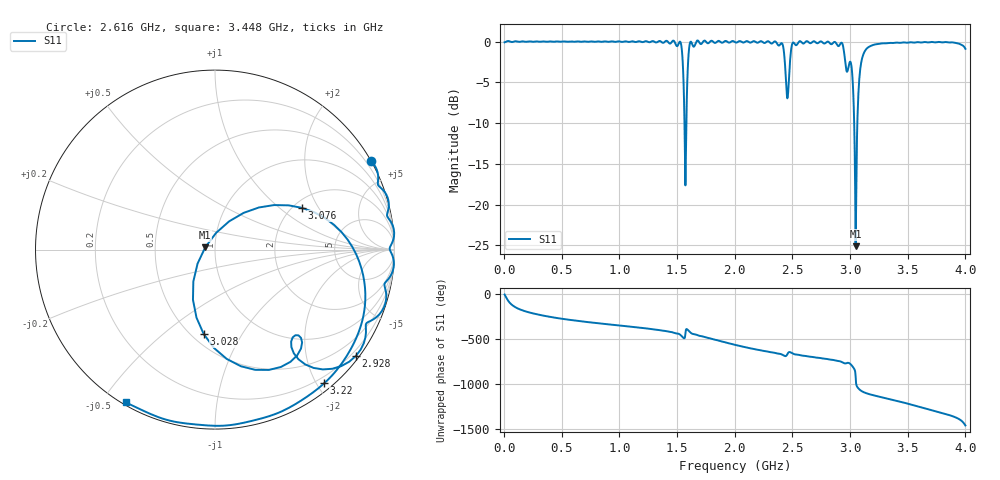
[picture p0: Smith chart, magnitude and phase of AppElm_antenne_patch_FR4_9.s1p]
! TOUCHSTONE file generated by CST MICROWAVE STUDIO
! Date and time: Tue Jun  7 22:11:20 2022
! Project name: AppElm_antenne_patch_FR4.cst
! Parameters = {L=45; W=58.5; e=0.035; h=1.6; lambda=0.190476; ls=120; w0=1.6; w1=0.613; ws=120; y0=20; y1=23.81}
! Header version: 2018
! Port assignment regex: !\s*Touchstone port\s*([0-9]+)\s*=\s*(CST MWS port|CST DS port)\s*([0-9]+|Zmin|Zmax)\s*\(\"(.*)\"\)(\s*mode\s*([0-9]+))?.*
! Touchstone port assignment:
! Touchstone port 1 = CST MWS port 1 ("")
# GHz S MA R 50
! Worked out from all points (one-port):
!   1000 points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, 4 MHz to 4 GHz, reference 50 ohm
!   lowest |S11| = -25.1 dB at 3.048 GHz (marker M1), VSWR 1.12, Z = 44.9 + j1.22 ohm
!   |S11| at or under -10 dB: 1.564 GHz to 1.58 GHz (16.16 MHz wide, 1.03 % of centre); 3.035 GHz to 3.063 GHz (27.53 MHz wide, 0.903 % of centre)
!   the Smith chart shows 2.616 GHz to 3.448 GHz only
!   S11 on the Smith chart (normalised r, x): 2.616 GHz: 0.01, +3.80; 2.928 GHz: 0.08, -2.98; 3.028 GHz: 0.57, -0.70; 3.076 GHz: 2.23, +1.46; 3.22 GHz: 0.11, -2.11; 3.448 GHz: 0.01, -0.57
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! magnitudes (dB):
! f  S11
! 4 MHz  -0.1
! 504 MHz  0.0
! 1.004 GHz  0.0
! 1.504 GHz  -0.5
! 1.536 GHz  -0.4
! 1.56 GHz  -7.2
! 1.572 GHz  -17.6
! 1.584 GHz  -7.1
! 1.604 GHz  -0.8
! 1.62 GHz  0.0
! 2.004 GHz  -0.1
! 2.4 GHz  -0.2
! 2.456 GHz  -7.0
! 2.504 GHz  -0.1
! 2.616 GHz  0.0
! 2.928 GHz  -0.1
! 3.004 GHz  -2.5
! 3.02 GHz  -4.3
! 3.028 GHz  -6.5
! 3.048 GHz  -25.1
! 3.064 GHz  -9.4
! 3.076 GHz  -5.4
! 3.092 GHz  -3.0
! 3.116 GHz  -1.5
! 3.22 GHz  -0.3
! 3.448 GHz  -0.1
! 3.504 GHz  -0.1
! 4 GHz  -0.9
